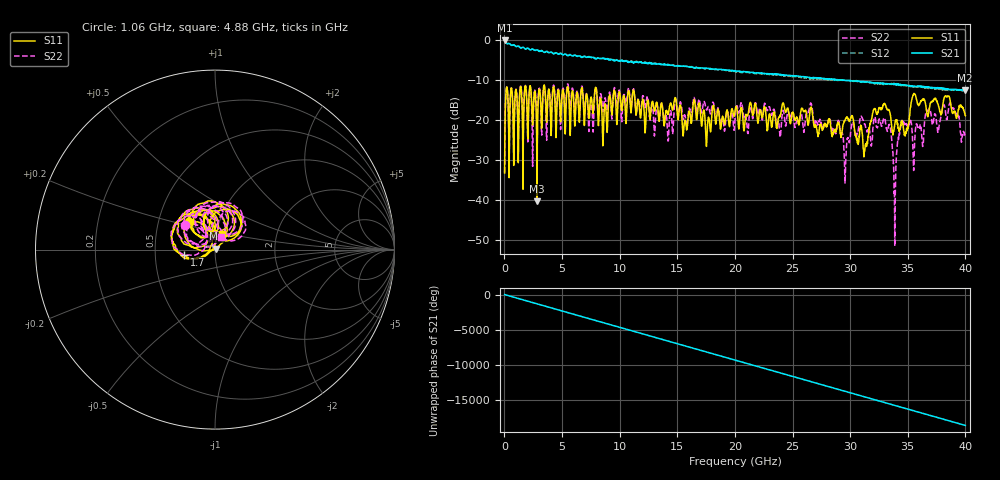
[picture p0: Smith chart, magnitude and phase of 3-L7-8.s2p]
! 2/21/2025 7:29:30 AM
! Z:\OQC\AD5\613\LOT-141-0825\SINGLE\3-L7-8.S2P
! CHANNEL.1
! TR.MEASUREMENT
! CORRECTED.DATA
! RF.CORRECTION: FULL.FOUR.PORT.CAL.PORT.1.2.3.4
! AVERAGING.OFF
! IF.BANDWIDTH: 1KHZ
! SWEEPTYPE:  FREQ.SWEEP(Linear)
! Reference Plane Port Info
! PORT:  PORT1  PORT2
! DISTANCE:  0  m  0  m
! TIME:  0  s  0  s
! PHASE.OFFSET:  0 °  0 °
! LOSS:  0  dB  0  dB
! REF.LOSS:  0  dB  0  dB
! REF.FREQ:  0  Hz  0  Hz
! Power Info
! POWER:  -10  dBm  -10  dBm
! EFF.POWER:  -10  dBm  -10  dBm
! SOURCE.ATTEN:  0  dB  0  dB
! TEST.ATTEN:  0  dB  0  dB
# GHZ S RI R 50.0
! FREQ.GHZ  S11RE  S11IM  S21RE  S21IM  S12RE  S12IM  S22RE  S22IM
!; PortSelection: Port_12
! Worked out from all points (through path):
!   4000 points, 10 MHz to 40 GHz, reference 50 ohm
!   highest |S21| = -0.14 dB at 10 MHz (marker M1); lowest = -12.6 dB at 39.93 GHz (marker M2)
!   group delay of S21, straight-line fit = 1.29 ns
!   lowest |S11| = -40.3 dB at 2.82 GHz (marker M3), VSWR 1.02, Z = 50.8 + j0.566 ohm
!   |S11| at or under -10 dB: start of sweep to end of sweep
!   |S22| runs from -51.6 to -11.0 dB; largest |S21 - S12| = 0.021
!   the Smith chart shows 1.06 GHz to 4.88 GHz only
!   S11 on the Smith chart (normalised r, x): 1.06 GHz: 0.71, +0.23; 1.7 GHz: 0.71, -0.04; 4.88 GHz: 1.06, +0.19
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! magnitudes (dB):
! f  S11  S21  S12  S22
! 10 MHz  -33.3  -0.1  -0.1  -33.2
! 230 MHz  -12.0  -0.9  -0.9  -12.0
! 1.06 GHz  -13.5  -1.7  -1.6  -13.4
! 1.7 GHz  -15.2  -2.0  -2.0  -14.6
! 2.82 GHz  -40.3  -2.5  -2.5  -18.5
! 4.88 GHz  -20.4  -3.4  -3.4  -22.1
! 6.68 GHz  -12.1  -4.4  -4.2  -11.7
! 13.34 GHz  -18.1  -6.0  -6.0  -18.3
! 20.01 GHz  -17.6  -7.8  -7.9  -19.7
! 26.67 GHz  -17.4  -9.4  -9.7  -16.5
! 29.04 GHz  -21.1  -10.1  -10.1  -20.5
! 29.59 GHz  -19.7  -10.1  -10.1  -32.5
! 31.31 GHz  -26.5  -10.5  -10.5  -21.5
! 32.06 GHz  -17.4  -10.7  -10.8  -19.9
! 33.34 GHz  -17.4  -11.0  -11.0  -21.4
! 33.86 GHz  -21.1  -11.0  -11.2  -44.9
! 34.59 GHz  -21.3  -11.2  -11.4  -20.8
! 35.54 GHz  -13.5  -11.6  -11.8  -30.1
! 36.73 GHz  -19.2  -11.8  -11.9  -17.8
! 38.74 GHz  -16.4  -12.4  -12.6  -16.3
! 39.93 GHz  -18.2  -12.6  -12.6  -23.4
! 40 GHz  -18.9  -12.6  -12.6  -24.2
